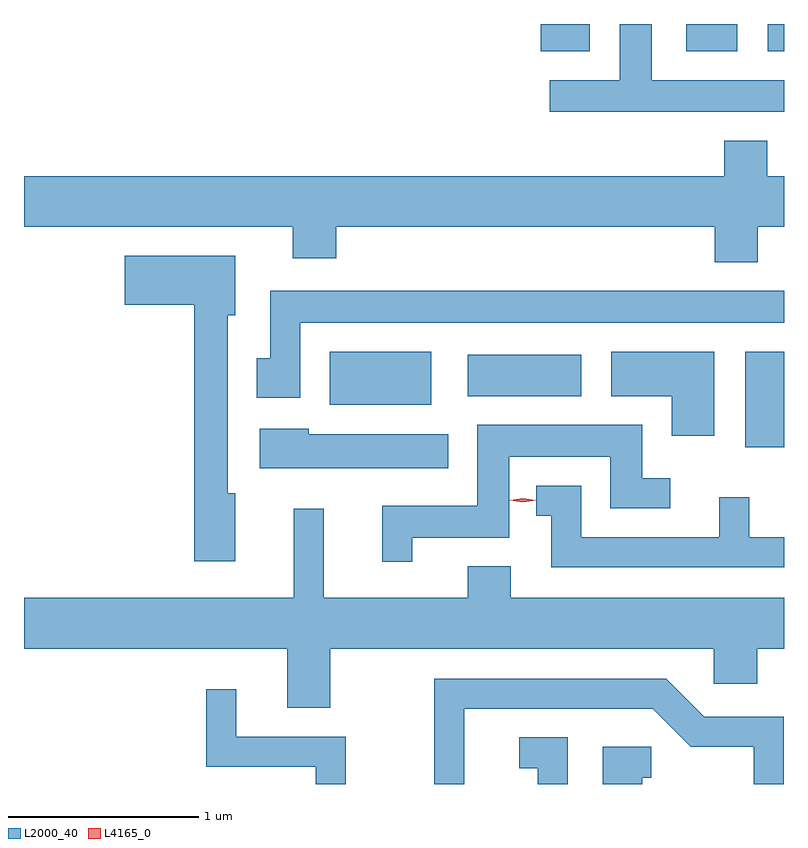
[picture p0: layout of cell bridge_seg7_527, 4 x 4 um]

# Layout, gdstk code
import gdstk
lib = gdstk.Library(unit=1e-6, precision=1e-09)
def R(c, l, rs):  # rectangles x0, y0, x1, y1
    for r in rs: c.add(gdstk.rectangle(r[:2], r[2:], *l))
def P(c, l, *ps):  # polygons
    for p in ps: c.add(gdstk.Polygon(p, *l))
L2000_40 = (2000, 40)
L4165_0 = (4165, 0)

bridge_seg7_527 = lib.new_cell('bridge_seg7_527')
R(bridge_seg7_527, L2000_40, [(850.891,1781.976,851.096,1782.479), (848.706,1782.201,849.239,1782.479), (849.431,1782.246,850.029,1782.464), (849.816,1784.061,850.074,1784.204), (850.581,1784.061,850.849,1784.204), (851.011,1784.061,851.096,1784.204)])
P(bridge_seg7_527, L2000_40, [(851.096,1783.909),(850.399,1783.909),(850.399,1784.204),(850.231,1784.204),(850.231,1783.909),(849.863,1783.909),(849.863,1783.741),(851.096,1783.741)],
  [(850.959,1783.136),(851.096,1783.136),(851.096,1783.404),(851.009,1783.404),(851.009,1783.589),(850.781,1783.589),(850.781,1783.404),(847.096,1783.404),(847.096,1783.136),(848.511,1783.136),(848.511,1782.971),(848.739,1782.971),(848.739,1783.136),(850.731,1783.136),(850.731,1782.951),(850.959,1782.951)],
  [(848.209,1781.734),(848.169,1781.734),(848.169,1782.671),(848.209,1782.671),(848.209,1782.984),(847.626,1782.984),(847.626,1782.726),(847.991,1782.726),(847.991,1781.376),(848.209,1781.376)],
  [(848.549,1782.631),(851.096,1782.631),(851.096,1782.799),(848.391,1782.799),(848.391,1782.444),(848.321,1782.444),(848.321,1782.236),(848.549,1782.236)],
  [(850.729,1782.479),(850.186,1782.479),(850.186,1782.246),(850.506,1782.246),(850.506,1782.036),(850.729,1782.036)],
  [(849.139,1781.501),(849.649,1781.501),(849.649,1781.926),(850.181,1781.926),(850.181,1781.656),(850.498,1781.656),(850.498,1781.814),(850.349,1781.814),(850.349,1782.094),(849.481,1782.094),(849.481,1781.669),(848.981,1781.669),(848.981,1781.373),(849.139,1781.373)],
  [(849.329,1782.044),(848.594,1782.044),(848.594,1782.074),(848.336,1782.074),(848.336,1781.866),(849.329,1781.866)],
  [(851.096,1781.504),(850.914,1781.504),(850.914,1781.713),(850.756,1781.713),(850.756,1781.504),(850.029,1781.504),(850.029,1781.774),(849.793,1781.774),(849.793,1781.616),(849.871,1781.616),(849.871,1781.346),(851.096,1781.346)],
  [(848.709,1780.916),(850.726,1780.916),(850.726,1780.731),(850.954,1780.731),(850.954,1780.916),(851.096,1780.916),(851.096,1781.184),(849.659,1781.184),(849.659,1781.349),(849.431,1781.349),(849.431,1781.184),(848.674,1781.184),(848.674,1781.653),(848.516,1781.653),(848.516,1781.184),(847.096,1781.184),(847.096,1780.916),(848.481,1780.916),(848.481,1780.606),(848.709,1780.606)],
  [(849.414,1780.601),(850.404,1780.601),(850.604,1780.401),(850.936,1780.401),(850.936,1780.204),(851.094,1780.204),(851.094,1780.559),(850.677,1780.559),(850.477,1780.759),(849.256,1780.759),(849.256,1780.204),(849.414,1780.204)],
  [(848.789,1780.454),(848.214,1780.454),(848.214,1780.703),(848.056,1780.703),(848.056,1780.296),(848.631,1780.296),(848.631,1780.204),(848.789,1780.204)],
  [(849.959,1780.449),(849.703,1780.449),(849.703,1780.286),(849.801,1780.286),(849.801,1780.204),(849.959,1780.204)],
  [(850.349,1780.236),(850.398,1780.236),(850.398,1780.399),(850.141,1780.399),(850.141,1780.204),(850.349,1780.204)])
P(bridge_seg7_527, L4165_0, [(849.721,1781.687),(849.652,1781.697),(849.652,1781.697),(849.652,1781.698),(849.721,1781.707),(849.791,1781.698),(849.791,1781.697),(849.791,1781.697)])

lib.write_gds('bridge_seg7_527.gds')
